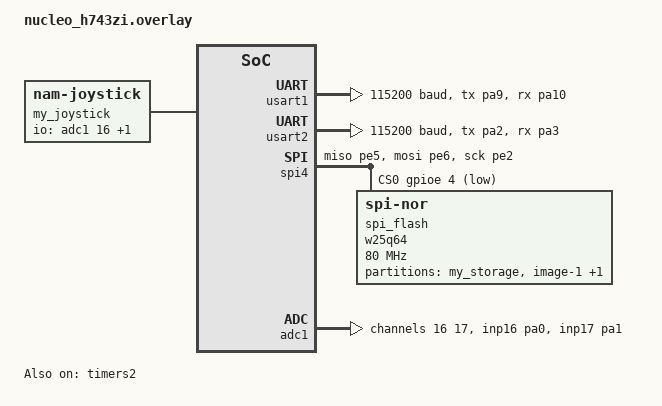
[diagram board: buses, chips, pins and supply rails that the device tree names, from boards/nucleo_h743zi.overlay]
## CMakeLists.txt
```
# SPDX-License-Identifier: Apache-2.0

cmake_minimum_required(VERSION 3.20.0)

find_package(Zephyr REQUIRED HINTS $ENV{ZEPHYR_BASE})

project(
    dinhnamuet_zephyr
    LANGUAGES C
)

target_include_directories(app PRIVATE ${CMAKE_CURRENT_SOURCE_DIR}/inc)

zephyr_library_sources_ifdef(CONFIG_JOYSTICK src/joystick_hal.c)
zephyr_library_sources_ifdef(CONFIG_WATCHDOG src/wdt.c)
zephyr_library_sources_ifdef(CONFIG_USB_CUSTOM_CLASS src/usb.c)
zephyr_library_sources_ifdef(CONFIG_USB_CUSTOM_CLASS src/dfu.c)
zephyr_library_sources_ifdef(CONFIG_NVS src/storage.c)
zephyr_library_sources_ifdef(CONFIG_UART_ASYNC_API src/serial.c)
zephyr_library_sources_ifdef(CONFIG_COUNTER src/counter.c)
zephyr_library_sources_ifdef(CONFIG_SENSOR src/tsensor.c)
zephyr_library_sources_ifdef(CONFIG_NET_TCP src/tcp_server.c src/dfu.c)
zephyr_library_sources_ifdef(CONFIG_HTTP_SERVER src/http_server.c)
zephyr_library_sources_ifdef(CONFIG_UPDATEHUB src/updatehub_ota.c)
zephyr_library_sources_ifdef(CONFIG_WIFI src/wifi_impl.c)

zephyr_linker_sources(SECTIONS sections-rom.ld)
zephyr_linker_section(NAME http_resource_desc_my_http_service
                      KVMA RAM_REGION GROUP RODATA_REGION)

target_sources(app PRIVATE main.c)
```

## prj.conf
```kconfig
CONFIG_LOG=y
CONFIG_BOOTLOADER_MCUBOOT=y
CONFIG_MCUBOOT_GENERATE_UNSIGNED_IMAGE=n
CONFIG_MCUBOOT_SIGNATURE_KEY_FILE="/home/nam/zephyr-development/vendor/dinhnamuet/keys/dinhnamuet_key_rsa_2048.pem"
CONFIG_MCUBOOT_BOOTLOADER_MODE_SWAP_SCRATCH=y
CONFIG_FLASH=y
CONFIG_FLASH_MAP=y
CONFIG_FLASH_PAGE_LAYOUT=y
CONFIG_STREAM_FLASH=y
CONFIG_IMG_MANAGER=y
CONFIG_IMG_ERASE_PROGRESSIVELY=y
CONFIG_IMG_BLOCK_BUF_SIZE=512
CONFIG_REBOOT=y
```

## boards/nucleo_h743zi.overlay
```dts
/ {
    chosen {
		zephyr,console = &usart2;
        zephyr,code-partition = &slot0_partition;
    };

    my_joystick: joystick {
        compatible = "nam-joystick";

        io-channels = <&adc1 16>, <&adc1 17>;
        io-channel-names = "adcx", "adcy";
        polling-interval-ms = <20000>;
        status = "okay";
    };
};

&dma1 {
    status = "okay";
};

&dmamux1 {
    status = "okay";
};

&usart1 {
    pinctrl-0 = <&usart1_tx_pa9 &usart1_rx_pa10>;
    pinctrl-names = "default";
    current-speed = <115200>;
    
    dmas = <&dmamux1 0 41 (STM32_DMA_PERIPH_RX | STM32_DMA_PRIORITY_HIGH)>;
	dma-names = "rx";

    status = "okay";
};

&usart2 {
    pinctrl-0 = <&usart2_tx_pa2 &usart2_rx_pa3>;
    pinctrl-names = "default";
    current-speed = <115200>;
    status = "okay";
};

&usart3 {
    status = "disabled";
};

&spi4 {
    pinctrl-0 = <&spi4_miso_pe5 &spi4_mosi_pe6 &spi4_sck_pe2>;
    pinctrl-names = "default";

    cs-gpios = <&gpioe 4 GPIO_ACTIVE_LOW>;
    status = "okay";

    spi_flash: w25q64@0 {
        compatible = "jedec,spi-nor";
        reg = <0>;

        jedec-id = [EF 40 17];
        size = <DT_SIZE_M(64)>;
        page-size = <256>;
        spi-max-frequency = <80000000>;
        status = "okay";
    };
};

&spi_flash {
    partitions {
        compatible = "fixed-partitions";
        #address-cells = <1>;
        #size-cells = <1>;

        my_storage: partition@0 {
            reg = <0x0 DT_SIZE_K(16)>;
        };

        slot1_partition: partition@4000 {
            label = "image-1";
            reg = <0x4000 DT_SIZE_K(256)>;
        };

        scratch_partition: partition@044000 {
            label = "image-scratch";
            reg = <0x44000 DT_SIZE_K(128)>;
        };
    };
};

&flash0 {
    partitions {
        /delete-node/ partition@80000;
        /delete-node/ partition@c0000;
    };
};

&adc1 {
    #address-cells = <1>;
    #size-cells = <0>;

    pinctrl-0 = <&adc1_inp16_pa0 &adc1_inp17_pa1>;
    pinctrl-names = "default";

    status = "okay";

    channel@10 {
        reg = <0x10>;
        zephyr,gain = "ADC_GAIN_1";
        zephyr,reference = "ADC_REF_INTERNAL";
        zephyr,vref-mv = <3300>;
        zephyr,acquisition-time = <ADC_ACQ_TIME_DEFAULT>;
        zephyr,resolution = <16>;
    };

    channel@11 {
        reg = <0x11>;
        zephyr,gain = "ADC_GAIN_1";
        zephyr,reference = "ADC_REF_INTERNAL";
        zephyr,vref-mv = <3300>;
        zephyr,acquisition-time = <ADC_ACQ_TIME_DEFAULT>;
        zephyr,resolution = <16>;
    };
};

&timers2 {
    st,prescaler = <239>;
    status = "okay";

    test_counter: counter {
        compatible = "st,stm32-counter";
        status = "okay";
    };
};
```

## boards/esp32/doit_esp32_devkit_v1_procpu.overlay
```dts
/ {
    chosen {
        zephyr,code-partition = &slot0_partition;
    };

    my_joystick: joystick {
        compatible = "nam-joystick";

        io-channels = <&adc0 6>, <&adc0 7>;
        io-channel-names = "adcx", "adcy";
        polling-interval-ms = <20000>;
        status = "okay";
    };
};

&adc0 {
    #address-cells = <1>;
    #size-cells = <0>;
    status = "okay";

    channel@6 {
        reg = <0x06>;
        zephyr,gain = "ADC_GAIN_1";
        zephyr,reference = "ADC_REF_INTERNAL";
        zephyr,vref-mv = <3300>;
        zephyr,acquisition-time = <ADC_ACQ_TIME_DEFAULT>;
        zephyr,resolution = <10>;
    };

    channel@7 {
        reg = <0x07>;
        zephyr,gain = "ADC_GAIN_1";
        zephyr,reference = "ADC_REF_INTERNAL";
        zephyr,vref-mv = <3300>;
        zephyr,acquisition-time = <ADC_ACQ_TIME_DEFAULT>;
        zephyr,resolution = <10>;
    };
};
```

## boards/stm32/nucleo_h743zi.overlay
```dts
/ {
    chosen {
		zephyr,console = &usart2;
        zephyr,code-partition = &slot0_partition;
    };

    my_joystick: joystick {
        compatible = "nam-joystick";

        io-channels = <&adc1 16>, <&adc1 15>;
        io-channel-names = "adcx", "adcy";
        polling-interval-ms = <20000>;
        status = "okay";
    };
};

&dma1 {
    status = "okay";
};

&dmamux1 {
    status = "okay";
};

&usart1 {
    pinctrl-0 = <&usart1_tx_pa9 &usart1_rx_pa10>;
    pinctrl-names = "default";
    current-speed = <115200>;
    
    dmas = <&dmamux1 0 41 (STM32_DMA_PERIPH_RX | STM32_DMA_PRIORITY_HIGH)>;
	dma-names = "rx";

    status = "okay";
};

&usart2 {
    pinctrl-0 = <&usart2_tx_pd5 &usart2_rx_pd6>;
    pinctrl-names = "default";
    current-speed = <115200>;
    status = "okay";
};

&usart3 {
    status = "disabled";
};

&spi4 {
    pinctrl-0 = <&spi4_miso_pe5 &spi4_mosi_pe6 &spi4_sck_pe2>;
    pinctrl-names = "default";

    cs-gpios = <&gpioe 4 GPIO_ACTIVE_LOW>;
    status = "okay";

    spi_flash: w25q64@0 {
        compatible = "jedec,spi-nor";
        reg = <0>;

        jedec-id = [EF 40 17];
        size = <DT_SIZE_M(64)>;
        page-size = <256>;
        spi-max-frequency = <80000000>;
        status = "okay";
    };
};

&spi_flash {
    partitions {
        compatible = "fixed-partitions";
        #address-cells = <1>;
        #size-cells = <1>;

        my_storage: partition@0 {
            reg = <0x0 DT_SIZE_K(16)>;
        };

        slot1_partition: partition@4000 {
            label = "image-1";
            reg = <0x4000 DT_SIZE_K(256)>;
        };

        scratch_partition: partition@044000 {
            label = "image-scratch";
            reg = <0x44000 DT_SIZE_K(128)>;
        };
    };
};

&flash0 {
    partitions {
        /delete-node/ partition@80000;
        /delete-node/ partition@c0000;
    };
};

&adc1 {
    #address-cells = <1>;
    #size-cells = <0>;

    pinctrl-0 = <&adc1_inp16_pa0 &adc1_inp15_pa3>;
    pinctrl-names = "default";

    status = "okay";

    channel@10 {
        reg = <0x10>;
        zephyr,gain = "ADC_GAIN_1";
        zephyr,reference = "ADC_REF_INTERNAL";
        zephyr,vref-mv = <3300>;
        zephyr,acquisition-time = <ADC_ACQ_TIME_DEFAULT>;
        zephyr,resolution = <16>;
    };

    channel@f {
        reg = <0x0f>;
        zephyr,gain = "ADC_GAIN_1";
        zephyr,reference = "ADC_REF_INTERNAL";
        zephyr,vref-mv = <3300>;
        zephyr,acquisition-time = <ADC_ACQ_TIME_DEFAULT>;
        zephyr,resolution = <16>;
    };
};

&timers2 {
    st,prescaler = <239>;
    status = "okay";

    test_counter: counter {
        compatible = "st,stm32-counter";
        status = "okay";
    };
};
```

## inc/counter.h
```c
#pragma once

#define ALARM_REPEAT    0
#define ALARM_ONESHOT   1

typedef int (*ct_cb_t)(uint8_t chan_id, uint32_t us);

int ct_init(void);
void ct_destroy(void);
int ct_start(void);
int ct_stop(void);
int ct_rst(void);
int ct_set_val(uint32_t ticks);
int ct_get_val(uint32_t *ticks);
int ct_set_alarm(uint8_t chan_id, uint32_t us, ct_cb_t cb);
int ct_remove_alarm(uint8_t chan_id);
```

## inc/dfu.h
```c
#pragma once
#define DFU_NET_TCP
/**
 * request: <1 byte cmd> + <data>
 * response: <1 byte cmd> + <1 byte result>
 * 0: failed
 * 1: successfully
 */
#if defined(DFU_NET_TCP)
void dfu_handle(int fd, uint8_t req, const uint8_t *buf, size_t size);
#else
void dfu_handle(uint8_t req, const uint8_t *buf, size_t size);
#endif
```

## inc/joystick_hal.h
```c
#pragma once

struct joystick_data {
    int32_t x;
    int32_t y;
};
```

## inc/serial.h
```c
#pragma once

typedef void (*uart_cb_t)(const uint8_t *data, size_t size);

int serial_init(uart_cb_t cb);
int serial_write(const uint8_t *data, size_t size);
```

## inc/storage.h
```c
#pragma once

#include <sys/types.h>

#define STRING_ID        1
#define INTEGER_ID       2
#define BOOT_COUNT_ID    3
#define WIFI_SSID_ID     4
#define WIFI_PSK_ID      5

int storage_init(void);
ssize_t storage_read(uint16_t id, void *data, size_t len);
ssize_t storage_write(uint16_t id, const void *data, size_t len);
```

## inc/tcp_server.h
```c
#pragma once

typedef void (*tcp_rx_t)(int client_fd, const uint8_t *buf, size_t size);

int tcp_server_init(uint16_t port);
int tcp_server_start(tcp_rx_t cb);
ssize_t tcp_server_send(int fd, const uint8_t *buf, size_t len);
```

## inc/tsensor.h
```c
#pragma once

struct sensor_data {
    uint32_t time_stamp_seconds;
    double temperature;
};

int tsensor_polling_start(const uint32_t polling_interval_ms);
```

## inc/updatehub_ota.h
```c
#pragma once

void updatehub_init(void);
void updatehub_start(void);
```

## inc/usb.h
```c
#pragma once

typedef void (*usb_rx_handler_t)(const uint8_t *data, size_t size);

int usb_app_init(usb_rx_handler_t rx_handler);
int usb_app_send(const uint8_t *buf, size_t size);
bool usb_app_is_ready(void);
void usb_app_disable(void);
```

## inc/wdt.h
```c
#pragma once

int watchdog_init(unsigned long timeoutms);
void watchdog_daemon_start(unsigned long duration_ms);
```

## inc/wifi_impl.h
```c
#pragma once

int wifi_init(void);
int wifi_connect(void);
int wifi_save(const char *ssid, const char *password);
int wifi_del(const char *ssid);
const char *wifi_get_ipv4(void);
```

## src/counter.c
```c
#include <zephyr/kernel.h>
#include <zephyr/drivers/counter.h>
#include <zephyr/logging/log.h>

#include "counter.h"

LOG_MODULE_REGISTER(counter);

static const struct device *const counter = DEVICE_DT_GET(DT_NODELABEL(test_counter));

struct counter_info {
    uint8_t num_channels;
    uint32_t max_top;
    uint32_t current_top;
    uint32_t freq;
    struct counter_alarm_cfg *cfg;
} ct;

static void counter_alarm_callback(const struct device *dev, uint8_t chan_id, uint32_t ticks,
					 void *user_data)
{
    ct_cb_t cb = user_data;
    if (cb) {
        if (cb(chan_id, counter_ticks_to_us(counter, ticks)) == ALARM_REPEAT) {
            counter_set_channel_alarm(counter, chan_id, &ct.cfg[chan_id]);
        }
    }
}

int ct_init(void)
{
    if (!device_is_ready(counter)) {
        LOG_ERR("Counter %s not found", counter->name);
        return -ENODEV;
    }
    ct.num_channels = counter_get_num_of_channels(counter);
    ct.max_top = counter_get_max_top_value(counter);
    ct.current_top = counter_get_top_value(counter);
    ct.freq = counter_get_frequency(counter);
    ct.cfg = k_calloc(ct.num_channels, sizeof(struct counter_alarm_cfg));
    if (!ct.cfg) {
        LOG_ERR("Out of heap");
        return -ENOMEM;
    }
    for (int i = 0; i < ct.num_channels; i++) {
        ct.cfg[i].callback = counter_alarm_callback;
    }
    LOG_INF("%s, %d channels", counter->name, ct.num_channels);
    LOG_INF("count from 0 to 0x%x, freq: %dHz", ct.current_top, ct.freq);
    return 0;
}

void ct_destroy(void)
{
    counter_stop(counter);
    k_free(ct.cfg);
}

int ct_start(void)
{
    return counter_start(counter);
}

int ct_stop(void)
{
    return counter_stop(counter);
}

int ct_rst(void)
{
    return counter_reset(counter);
}

int ct_set_val(uint32_t ticks)
{
    return (ticks > ct.current_top) ? -EINVAL : counter_set_value(counter, ticks);
}

int ct_get_val(uint32_t *ticks)
{
    return counter_get_value(counter, ticks);
}

int ct_set_alarm(uint8_t chan_id, uint32_t us, ct_cb_t cb)
{
    if (chan_id >= ct.num_channels) {
        LOG_ERR("Valid id: 0 - %d", ct.num_channels - 1);
        return -EINVAL;
    }
    ct.cfg[chan_id].user_data = (void *)cb;
    ct.cfg[chan_id].ticks = counter_us_to_ticks(counter, us);
    return counter_set_channel_alarm(counter, chan_id, &ct.cfg[chan_id]);
}

int ct_remove_alarm(uint8_t chan_id)
{
    if (chan_id >= ct.num_channels) {
        LOG_ERR("Valid id: 0 - %d", ct.num_channels - 1);
        return -EINVAL;
    }
    ct.cfg[chan_id].user_data = NULL;
    return counter_cancel_channel_alarm(counter, chan_id);
}
```
